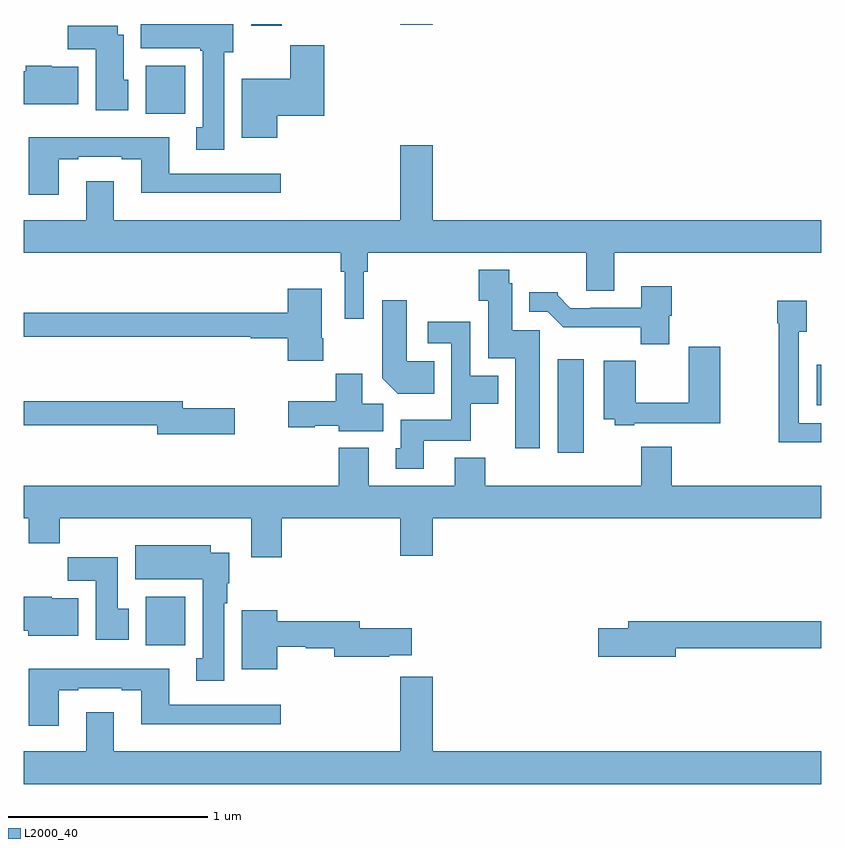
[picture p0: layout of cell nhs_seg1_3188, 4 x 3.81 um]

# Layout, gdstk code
import gdstk
lib = gdstk.Library(unit=1e-6, precision=1e-09)
def R(c, l, rs):  # rectangles x0, y0, x1, y1
    for r in rs: c.add(gdstk.rectangle(r[:2], r[2:], *l))
def P(c, l, *ps):  # polygons
    for p in ps: c.add(gdstk.Polygon(p, *l))
L2000_40 = (2000, 40)

nhs_seg1_3188 = lib.new_cell('nhs_seg1_3188')
R(nhs_seg1_3188, L2000_40, [(283.613,563.084,283.81,563.326), (285.677,564.048,285.808,564.517), (286.976,564.287,287,564.49), (283.613,565.748,283.81,565.99), (284.141,566.19,284.294,566.199), (284.888,566.196,285.052,566.199)])
P(nhs_seg1_3188, L2000_40, [(284.005,566.058),(284.05,566.058),(284.05,566.199),(283.586,566.199),(283.586,566.078),(283.885,566.078),(283.885,566.065),(283.898,566.065),(283.898,565.682),(283.865,565.682),(283.865,565.569),(284.005,565.569)],
  [(283.525,565.92),(283.501,565.92),(283.501,566.146),(283.471,566.146),(283.471,566.191),(283.222,566.191),(283.222,566.072),(283.361,566.072),(283.361,565.766),(283.525,565.766)],
  [(284.272,565.739),(284.507,565.739),(284.507,566.092),(284.336,566.092),(284.336,565.924),(284.093,565.924),(284.093,565.628),(284.272,565.628)],
  [(283.273,565.984),(283.14,565.984),(283.14,565.99),(283.01,565.99),(283.01,565.962),(283,565.962),(283,565.796),(283.273,565.796)],
  [(283.177,565.521),(283.273,565.521),(283.273,565.533),(283.493,565.533),(283.493,565.521),(283.589,565.521),(283.589,565.352),(284.29,565.352),(284.29,565.449),(283.729,565.449),(283.729,565.63),(283.025,565.63),(283.025,565.344),(283.177,565.344)],
  [(284.706,564.956),(284.726,564.956),(284.726,565.052),(285.821,565.052),(285.821,564.862),(285.961,564.862),(285.961,565.052),(287,565.052),(287,565.216),(285.052,565.216),(285.052,565.591),(284.888,565.591),(284.888,565.216),(283.453,565.216),(283.453,565.411),(283.313,565.411),(283.313,565.216),(283,565.216),(283,565.052),(284.59,565.052),(284.59,564.956),(284.61,564.956),(284.61,564.72),(284.706,564.72)],
  [(285.589,564.663),(285.451,564.663),(285.451,564.9),(285.435,564.9),(285.435,564.967),(285.283,564.967),(285.283,564.811),(285.329,564.811),(285.329,564.524),(285.464,564.524),(285.464,564.072),(285.589,564.072)],
  [(286.237,564.735),(286.25,564.735),(286.25,564.883),(286.097,564.883),(286.097,564.777),(285.841,564.777),(285.841,564.774),(285.742,564.774),(285.678,564.838),(285.678,564.853),(285.536,564.853),(285.536,564.756),(285.627,564.756),(285.706,564.678),(286.095,564.678),(286.095,564.593),(286.237,564.593)],
  [(284.502,564.622),(284.494,564.622),(284.494,564.871),(284.324,564.871),(284.324,564.751),(283,564.751),(283,564.63),(284.14,564.63),(284.14,564.622),(284.324,564.622),(284.324,564.51),(284.502,564.51)],
  [(285.059,564.508),(284.92,564.508),(284.92,564.814),(284.798,564.814),(284.798,564.422),(284.876,564.344),(285.059,564.344)],
  [(287,564.198),(286.887,564.198),(286.887,564.655),(286.927,564.655),(286.927,564.811),(286.779,564.811),(286.779,564.698),(286.786,564.698),(286.786,564.101),(287,564.101)],
  [(285.007,564.11),(285.243,564.11),(285.243,564.296),(285.379,564.296),(285.379,564.436),(285.24,564.436),(285.24,564.706),(285.027,564.706),(285.027,564.597),(285.144,564.597),(285.144,564.214),(284.891,564.214),(284.891,564.072),(284.867,564.072),(284.867,563.97),(285.007,563.97)],
  [(286.063,564.198),(286.492,564.198),(286.492,564.58),(286.334,564.58),(286.334,564.299),(286.07,564.299),(286.07,564.511),(285.908,564.511),(285.908,564.218),(285.963,564.218),(285.963,564.186),(286.063,564.186)],
  [(284.803,564.296),(284.698,564.296),(284.698,564.445),(284.564,564.445),(284.564,564.307),(284.328,564.307),(284.328,564.178),(284.46,564.178),(284.46,564.185),(284.58,564.185),(284.58,564.158),(284.803,564.158)],
  [(284.059,564.273),(283.798,564.273),(283.798,564.307),(283,564.307),(283,564.186),(283.67,564.186),(283.67,564.143),(284.059,564.143)],
  [(284.294,563.72),(284.888,563.72),(284.888,563.532),(285.052,563.532),(285.052,563.72),(287,563.72),(287,563.884),(286.25,563.884),(286.25,564.079),(286.097,564.079),(286.097,563.884),(285.314,563.884),(285.314,564.025),(285.161,564.025),(285.161,563.884),(284.731,563.884),(284.731,564.073),(284.579,564.073),(284.579,563.884),(283,563.884),(283,563.72),(283.025,563.72),(283.025,563.596),(283.181,563.596),(283.181,563.72),(284.141,563.72),(284.141,563.526),(284.294,563.526)],
  [(284.005,563.294),(284.02,563.294),(284.02,563.394),(284.032,563.394),(284.032,563.548),(283.939,563.548),(283.939,563.584),(283.559,563.584),(283.559,563.414),(283.898,563.414),(283.898,563.018),(283.865,563.018),(283.865,562.905),(284.005,562.905)],
  [(283.528,563.268),(283.471,563.268),(283.471,563.526),(283.222,563.526),(283.222,563.408),(283.361,563.408),(283.361,563.112),(283.528,563.112)],
  [(283.273,563.32),(283.14,563.32),(283.14,563.326),(283,563.326),(283,563.156),(283.022,563.156),(283.022,563.132),(283.273,563.132)],
  [(284.272,563.076),(284.415,563.076),(284.415,563.068),(284.558,563.068),(284.558,563.026),(284.834,563.026),(284.834,563.033),(284.947,563.033),(284.947,563.168),(284.686,563.168),(284.686,563.204),(284.272,563.204),(284.272,563.26),(284.093,563.26),(284.093,562.964),(284.272,562.964)],
  [(286.27,563.068),(287,563.068),(287,563.204),(286.031,563.204),(286.031,563.168),(285.882,563.168),(285.882,563.026),(286.27,563.026)],
  [(283.177,562.857),(283.273,562.857),(283.273,562.869),(283.493,562.869),(283.493,562.857),(283.589,562.857),(283.589,562.688),(284.29,562.688),(284.29,562.785),(283.729,562.785),(283.729,562.966),(283.025,562.966),(283.025,562.68),(283.177,562.68)],
  [(287,562.552),(285.052,562.552),(285.052,562.927),(284.888,562.927),(284.888,562.552),(283.453,562.552),(283.453,562.747),(283.313,562.747),(283.313,562.552),(283,562.552),(283,562.388),(287,562.388)])

lib.write_gds('nhs_seg1_3188.gds')
